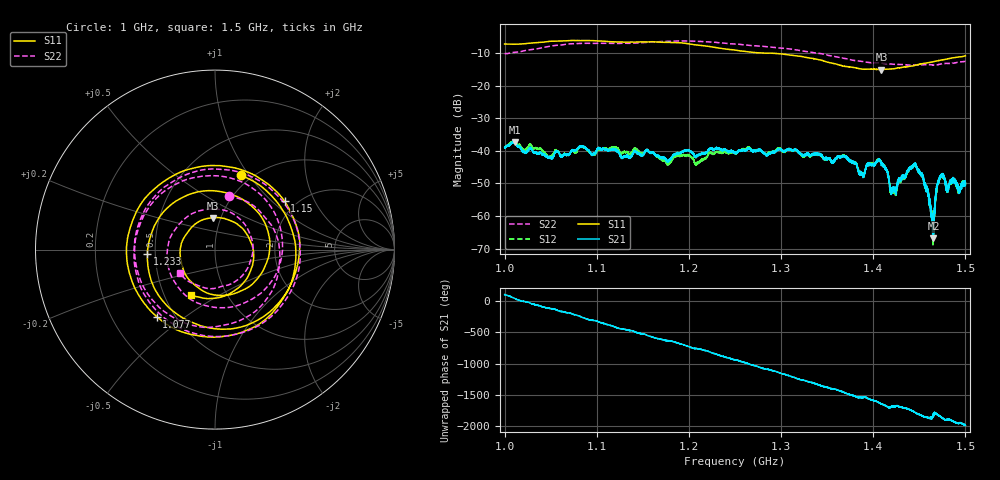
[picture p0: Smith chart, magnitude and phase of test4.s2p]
!Keysight Technologies N9923A: A.08.15
!Date: Friday, 16 February 2024 21:23:24
!Timezone: (GMT-05:00) Eastern Time (US & Canada)
!Model: N9923A
!Serial: MY52412730
!GPS Latitude:
!GPS Longitude:
!GPS TimeStamp: 0001-01-01 00:00:00Z
!GPS Seconds Since Last Read: 0
!CHECKSUM:0754641089
!Correction: S11(ON Q)S21(ON Q)S12(ON Q)S22(ON Q)
!S2P File: Measurements:S11,S21,S12,S22:
# Hz S DB R 50
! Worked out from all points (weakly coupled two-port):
!   10001 points, 1 GHz to 1.5 GHz, reference 50 ohm
!   highest |S21| = -37.24 dB at 1.011 GHz (marker M1); lowest = -66.9 dB at 1.465 GHz (marker M2)
!   lowest |S11| = -15.0 dB at 1.409 GHz (marker M3), VSWR 1.43, Z = 45.9 + j16.7 ohm
!   |S11| at or under -10 dB: 1.289843 GHz to 1.289856 GHz (12.67 kHz wide, 0.000982 % of centre); 1.29 GHz to end of sweep
!   |S22| runs from -13.7 to -6.2 dB; largest |S21 - S12| = 0.0024
!   S11 on the Smith chart (normalised r, x): 1 GHz: 0.89, +0.91; 1.077 GHz: 0.40, -0.39; 1.15 GHz: 1.74, +1.21; 1.233 GHz: 0.45, -0.03; 1.5 GHz: 0.68, -0.37
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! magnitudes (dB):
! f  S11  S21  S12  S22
! 1 GHz  -7.2  -38.9  -39.1  -10.1
! 1.011 GHz  -7.2  -37.2  -37.1  -9.7
! 1.049 GHz  -6.4  -41.8  -41.8  -7.9
! 1.077 GHz  -6.1  -39.8  -40.5  -7.1
! 1.083 GHz  -6.1  -38.6  -38.9  -7.0
! 1.15 GHz  -6.5  -41.3  -40.9  -6.8
! 1.167 GHz  -6.6  -41.5  -41.9  -6.5
! 1.209 GHz  -7.5  -41.7  -43.8  -6.3
! 1.233 GHz  -8.5  -39.3  -40.5  -6.8
! 1.25 GHz  -9.0  -40.5  -40.6  -7.2
! 1.333 GHz  -11.6  -41.1  -41.4  -9.7
! 1.369 GHz  -14.0  -41.5  -41.8  -11.6
! 1.388 GHz  -14.9  -47.1  -46.9  -12.5
! 1.409 GHz  -15.0  -44.0  -43.5  -13.1
! 1.417 GHz  -14.9  -48.1  -48.0  -13.2
! 1.423 GHz  -14.7  -51.8  -52.3  -13.4
! 1.446 GHz  -13.7  -43.8  -44.1  -13.6
! 1.454 GHz  -13.2  -48.4  -47.9  -13.5
! 1.465 GHz  -12.6  -66.9  -66.0  -13.6
! 1.47 GHz  -12.3  -50.5  -50.0  -13.5
! 1.474 GHz  -12.1  -47.5  -47.5  -13.3
! 1.5 GHz  -10.8  -50.2  -50.2  -12.5
